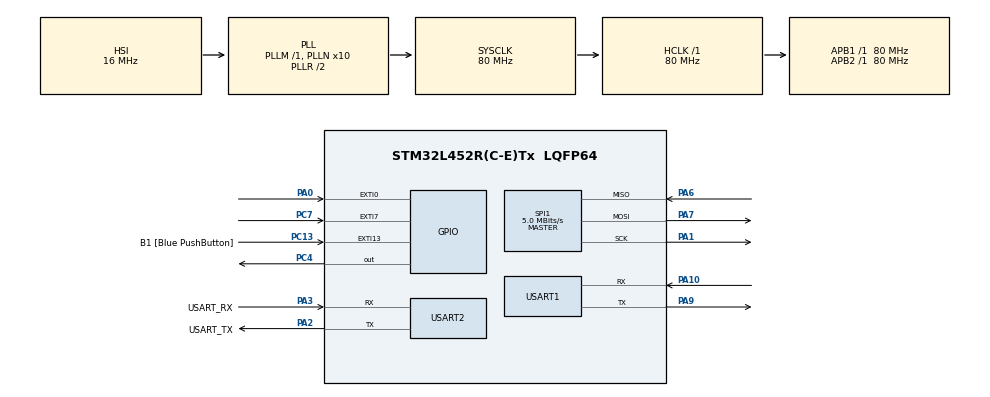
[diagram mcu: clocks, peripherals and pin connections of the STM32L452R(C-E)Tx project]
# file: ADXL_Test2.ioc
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Mcu.Family=STM32L4
Mcu.Name=STM32L452R(C-E)Tx
Mcu.Package=LQFP64
NVIC.EXTI0_IRQn=true\:0\:0\:false\:false\:true\:true\:true
NVIC.EXTI9_5_IRQn=true\:0\:0\:false\:false\:true\:true\:true
NVIC.PriorityGroup=NVIC_PRIORITYGROUP_4
NVIC.SPI1_IRQn=true\:0\:0\:false\:false\:true\:true\:true
PA0.Signal=GPXTI0
PA1.Mode=Full_Duplex_Master
PA1.Signal=SPI1_SCK
PA10.Mode=Asynchronous
PA10.Signal=USART1_RX
PA13\ (JTMS/SWDIO).GPIO_Label=TMS
PA13\ (JTMS/SWDIO).Mode=Serial_Wire
PA13\ (JTMS/SWDIO).Signal=SYS_JTMS-SWDIO
PA14\ (JTCK/SWCLK).GPIO_Label=TCK
PA14\ (JTCK/SWCLK).Mode=Serial_Wire
PA14\ (JTCK/SWCLK).Signal=SYS_JTCK-SWCLK
PA2.GPIO_Label=USART_TX
PA2.GPIO_Mode=GPIO_MODE_AF_PP
PA2.GPIO_PuPd=GPIO_NOPULL
PA2.GPIO_Speed=GPIO_SPEED_FREQ_VERY_HIGH
PA2.Mode=Asynchronous
PA2.Signal=USART2_TX
PA3.GPIO_Label=USART_RX
PA3.GPIO_Mode=GPIO_MODE_AF_PP
PA3.GPIO_PuPd=GPIO_NOPULL
PA3.GPIO_Speed=GPIO_SPEED_FREQ_VERY_HIGH
PA3.Mode=Asynchronous
PA3.Signal=USART2_RX
PA6.Mode=Full_Duplex_Master
PA6.Signal=SPI1_MISO
PA7.Mode=Full_Duplex_Master
PA7.Signal=SPI1_MOSI
PA9.Mode=Asynchronous
PA9.Signal=USART1_TX
PB3\ (JTDO/TRACESWO).GPIO_Label=SWO
PB3\ (JTDO/TRACESWO).Signal=SYS_JTDO-SWO
PC13.GPIO_Label=B1 [Blue PushButton]
PC13.GPIO_ModeDefaultEXTI=GPIO_MODE_IT_FALLING
PC13.GPIO_PuPd=GPIO_NOPULL
PC13.Signal=GPXTI13
PC14-OSC32_IN\ (PC14).Mode=LSE-External-Oscillator
PC14-OSC32_IN\ (PC14).Signal=RCC_OSC32_IN
PC15-OSC32_OUT\ (PC15).Mode=LSE-External-Oscillator
PC15-OSC32_OUT\ (PC15).Signal=RCC_OSC32_OUT
PC4.PinState=GPIO_PIN_SET
PC4.Signal=GPIO_Output
PC7.GPIO_ModeDefaultEXTI=GPIO_MODE_IT_RISING
PC7.Signal=GPXTI7
PH0-OSC_IN\ (PH0).Signal=RCC_OSC_IN
PH1-OSC_OUT\ (PH1).Signal=RCC_OSC_OUT
ProjectManager.HeapSize=0x200
ProjectManager.StackSize=0x400
ProjectManager.TargetToolchain=STM32CubeIDE
RCC.ADCFreq_Value=64000000
RCC.AHBFreq_Value=80000000
RCC.APB1Freq_Value=80000000
RCC.APB1TimFreq_Value=80000000
RCC.APB2Freq_Value=80000000
RCC.APB2TimFreq_Value=80000000
RCC.CortexFreq_Value=80000000
RCC.HCLKFreq_Value=80000000
RCC.HSE_VALUE=8000000
RCC.HSI48_VALUE=48000000
RCC.HSI_VALUE=16000000
RCC.MSI_VALUE=4000000
RCC.PLLN=10
RCC.PLLSourceVirtual=RCC_PLLSOURCE_HSI
RCC.PREFETCH_ENABLE=1
RCC.SYSCLKFreq_VALUE=80000000
RCC.SYSCLKSource=RCC_SYSCLKSOURCE_PLLCLK
RCC.USBFreq_Value=64000000
RCC.VCOOutputFreq_Value=160000000
SPI1.BaudRatePrescaler=SPI_BAUDRATEPRESCALER_16
SPI1.CalculateBaudRate=5.0 MBits/s
SPI1.DataSize=SPI_DATASIZE_8BIT
SPI1.Direction=SPI_DIRECTION_2LINES
SPI1.Mode=SPI_MODE_MASTER
SPI1.VirtualType=VM_MASTER
USART1.VirtualMode-Asynchronous=VM_ASYNC
USART2.VirtualMode-Asynchronous=VM_ASYNC
board=NUCLEO-L452RE

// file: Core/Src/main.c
/* USER CODE BEGIN Header */
/**
  ******************************************************************************
  * @file           : main.c
  * @brief          : Main program body
  ******************************************************************************
  * @attention
  *
  * <h2><center>&copy; Copyright (c) 2021 STMicroelectronics.
  * All rights reserved.</center></h2>
  *
  * This software component is licensed by ST under BSD 3-Clause license,
  * the "License"; You may not use this file except in compliance with the
  * License. You may obtain a copy of the License at:
  *                        opensource.org/licenses/BSD-3-Clause
  *
  ******************************************************************************
  */
/* USER CODE END Header */
#include "main.h"

/* USER CODE BEGIN Includes */
#include "accel.h"

// for debugging
#include <stdio.h>
#include <string.h>
/* USER CODE END Includes */

SPI_HandleTypeDef hspi1;

UART_HandleTypeDef huart1;
UART_HandleTypeDef huart2;

void SystemClock_Config(void);
static void MX_GPIO_Init(void);
static void MX_USART2_UART_Init(void);
static void MX_SPI1_Init(void);
static void MX_USART1_UART_Init(void);

/* USER CODE BEGIN 0 */
volatile uint8_t spi_xmit_flag = 0;
volatile uint8_t spi_recv_flag = 0;
volatile uint8_t fifo_read_flag = 0;

GPIO_Pin chip_select;
SPI_Comm accel_spi;
uint8_t fifo_buffer[FIFO_BYTES];
size_t fifo_buffer_size;

/* USER CODE END 0 */

int main(void)
{

  /* MCU Configuration--------------------------------------------------------*/

  /* Reset of all peripherals, Initializes the Flash interface and the Systick. */
  HAL_Init();

  /* Configure the system clock */
  SystemClock_Config();

  /* Initialize all configured peripherals */
  MX_GPIO_Init();
  MX_USART2_UART_Init();
  MX_SPI1_Init();
  MX_USART1_UART_Init();
  /* USER CODE BEGIN 2 */

  // initialize SPI
  chip_select.port = GPIOC;
  chip_select.pin = GPIO_PIN_4;
  accel_spi.handle = &hspi1;
  accel_spi.cs = &chip_select;

  fifo_buffer_size = sizeof(fifo_buffer);

  stream_start(accel_spi, FIFO_SAMPLES);
  fifo_data(accel_spi, fifo_buffer, fifo_buffer_size);

  /* USER CODE END 2 */

  /* Infinite loop */
  while (1)
  {

    /* USER CODE BEGIN 3 */

	  if (fifo_read_flag) {
		  fifo_read_flag = 0;
	  	  fifo_data(accel_spi, fifo_buffer, fifo_buffer_size);
	  	  HAL_UART_Transmit(&huart1, fifo_buffer, fifo_buffer_size, HAL_MAX_DELAY);
		  // buffer ready to transmit
	  }

	  //reg_read(accel_spi, (uint8_t) ADXL372_FIFO_DATA, (uint8_t*) &fifo_buffer);
  }
  /* USER CODE END 3 */
}

void SystemClock_Config(void)
{
  RCC_OscInitTypeDef RCC_OscInitStruct = {0};
  RCC_ClkInitTypeDef RCC_ClkInitStruct = {0};
  RCC_PeriphCLKInitTypeDef PeriphClkInit = {0};

  /** Initializes the RCC Oscillators according to the specified parameters
  * in the RCC_OscInitTypeDef structure.
  */
  RCC_OscInitStruct.OscillatorType = RCC_OSCILLATORTYPE_HSI;
  RCC_OscInitStruct.HSIState = RCC_HSI_ON;
  RCC_OscInitStruct.HSICalibrationValue = RCC_HSICALIBRATION_DEFAULT;
  RCC_OscInitStruct.PLL.PLLState = RCC_PLL_ON;
  RCC_OscInitStruct.PLL.PLLSource = RCC_PLLSOURCE_HSI;
  RCC_OscInitStruct.PLL.PLLM = 1;
  RCC_OscInitStruct.PLL.PLLN = 10;
  RCC_OscInitStruct.PLL.PLLP = RCC_PLLP_DIV7;
  RCC_OscInitStruct.PLL.PLLQ = RCC_PLLQ_DIV2;
  RCC_OscInitStruct.PLL.PLLR = RCC_PLLR_DIV2;
  if (HAL_RCC_OscConfig(&RCC_OscInitStruct) != HAL_OK)
  {
    Error_Handler();
  }
  /** Initializes the CPU, AHB and APB buses clocks
  */
  RCC_ClkInitStruct.ClockType = RCC_CLOCKTYPE_HCLK|RCC_CLOCKTYPE_SYSCLK
                              |RCC_CLOCKTYPE_PCLK1|RCC_CLOCKTYPE_PCLK2;
  RCC_ClkInitStruct.SYSCLKSource = RCC_SYSCLKSOURCE_PLLCLK;
  RCC_ClkInitStruct.AHBCLKDivider = RCC_SYSCLK_DIV1;
  RCC_ClkInitStruct.APB1CLKDivider = RCC_HCLK_DIV1;
  RCC_ClkInitStruct.APB2CLKDivider = RCC_HCLK_DIV1;

  if (HAL_RCC_ClockConfig(&RCC_ClkInitStruct, FLASH_LATENCY_4) != HAL_OK)
  {
    Error_Handler();
  }
  PeriphClkInit.PeriphClockSelection = RCC_PERIPHCLK_USART1|RCC_PERIPHCLK_USART2;
  PeriphClkInit.Usart1ClockSelection = RCC_USART1CLKSOURCE_PCLK2;
  PeriphClkInit.Usart2ClockSelection = RCC_USART2CLKSOURCE_PCLK1;
  if (HAL_RCCEx_PeriphCLKConfig(&PeriphClkInit) != HAL_OK)
  {
    Error_Handler();
  }
  /** Configure the main internal regulator output voltage
  */
  if (HAL_PWREx_ControlVoltageScaling(PWR_REGULATOR_VOLTAGE_SCALE1) != HAL_OK)
  {
    Error_Handler();
  }
}

static void MX_SPI1_Init(void)
{

  /* SPI1 parameter configuration*/
  hspi1.Instance = SPI1;
  hspi1.Init.Mode = SPI_MODE_MASTER;
  hspi1.Init.Direction = SPI_DIRECTION_2LINES;
  hspi1.Init.DataSize = SPI_DATASIZE_8BIT;
  hspi1.Init.CLKPolarity = SPI_POLARITY_LOW;
  hspi1.Init.CLKPhase = SPI_PHASE_1EDGE;
  hspi1.Init.NSS = SPI_NSS_SOFT;
  hspi1.Init.BaudRatePrescaler = SPI_BAUDRATEPRESCALER_16;
  hspi1.Init.FirstBit = SPI_FIRSTBIT_MSB;
  hspi1.Init.TIMode = SPI_TIMODE_DISABLE;
  hspi1.Init.CRCCalculation = SPI_CRCCALCULATION_DISABLE;
  hspi1.Init.CRCPolynomial = 7;
  hspi1.Init.CRCLength = SPI_CRC_LENGTH_DATASIZE;
  hspi1.Init.NSSPMode = SPI_NSS_PULSE_ENABLE;
  if (HAL_SPI_Init(&hspi1) != HAL_OK)
  {
    Error_Handler();
  }

}

static void MX_USART1_UART_Init(void)
{

  huart1.Instance = USART1;
  huart1.Init.BaudRate = 115200;
  huart1.Init.WordLength = UART_WORDLENGTH_8B;
  huart1.Init.StopBits = UART_STOPBITS_1;
  huart1.Init.Parity = UART_PARITY_NONE;
  huart1.Init.Mode = UART_MODE_TX_RX;
  huart1.Init.HwFlowCtl = UART_HWCONTROL_NONE;
  huart1.Init.OverSampling = UART_OVERSAMPLING_16;
  huart1.Init.OneBitSampling = UART_ONE_BIT_SAMPLE_DISABLE;
  huart1.AdvancedInit.AdvFeatureInit = UART_ADVFEATURE_NO_INIT;
  if (HAL_UART_Init(&huart1) != HAL_OK)
  {
    Error_Handler();
  }

}

static void MX_USART2_UART_Init(void)
{

  huart2.Instance = USART2;
  huart2.Init.BaudRate = 115200;
  huart2.Init.WordLength = UART_WORDLENGTH_8B;
  huart2.Init.StopBits = UART_STOPBITS_1;
  huart2.Init.Parity = UART_PARITY_NONE;
  huart2.Init.Mode = UART_MODE_TX_RX;
  huart2.Init.HwFlowCtl = UART_HWCONTROL_NONE;
  huart2.Init.OverSampling = UART_OVERSAMPLING_16;
  huart2.Init.OneBitSampling = UART_ONE_BIT_SAMPLE_DISABLE;
  huart2.AdvancedInit.AdvFeatureInit = UART_ADVFEATURE_NO_INIT;
  if (HAL_UART_Init(&huart2) != HAL_OK)
  {
    Error_Handler();
  }

}

static void MX_GPIO_Init(void)
{
  GPIO_InitTypeDef GPIO_InitStruct = {0};

  /* GPIO Ports Clock Enable */
  __HAL_RCC_GPIOC_CLK_ENABLE();
  __HAL_RCC_GPIOH_CLK_ENABLE();
  __HAL_RCC_GPIOA_CLK_ENABLE();
  __HAL_RCC_GPIOB_CLK_ENABLE();

  /*Configure GPIO pin Output Level */
  HAL_GPIO_WritePin(GPIOC, GPIO_PIN_4, GPIO_PIN_SET);

  /*Configure GPIO pin : B1_Pin */
  GPIO_InitStruct.Pin = B1_Pin;
  GPIO_InitStruct.Mode = GPIO_MODE_IT_FALLING;
  GPIO_InitStruct.Pull = GPIO_NOPULL;
  HAL_GPIO_Init(B1_GPIO_Port, &GPIO_InitStruct);

  /*Configure GPIO pin : PA0 */
  GPIO_InitStruct.Pin = GPIO_PIN_0;
  GPIO_InitStruct.Mode = GPIO_MODE_IT_RISING;
  GPIO_InitStruct.Pull = GPIO_NOPULL;
  HAL_GPIO_Init(GPIOA, &GPIO_InitStruct);

  /*Configure GPIO pin : PC4 */
  GPIO_InitStruct.Pin = GPIO_PIN_4;
  GPIO_InitStruct.Mode = GPIO_MODE_OUTPUT_PP;
  GPIO_InitStruct.Pull = GPIO_NOPULL;
  GPIO_InitStruct.Speed = GPIO_SPEED_FREQ_LOW;
  HAL_GPIO_Init(GPIOC, &GPIO_InitStruct);

  /*Configure GPIO pin : PC7 */
  GPIO_InitStruct.Pin = GPIO_PIN_7;
  GPIO_InitStruct.Mode = GPIO_MODE_IT_RISING;
  GPIO_InitStruct.Pull = GPIO_NOPULL;
  HAL_GPIO_Init(GPIOC, &GPIO_InitStruct);

  /* EXTI interrupt init*/
  HAL_NVIC_SetPriority(EXTI0_IRQn, 0, 0);
  HAL_NVIC_EnableIRQ(EXTI0_IRQn);

  HAL_NVIC_SetPriority(EXTI9_5_IRQn, 0, 0);
  HAL_NVIC_EnableIRQ(EXTI9_5_IRQn);

}

/* USER CODE BEGIN 4 */
void HAL_SPI_TxCpltCallback(SPI_HandleTypeDef * hspi)
{
  // Set CS pin to high and raise flag
  HAL_GPIO_WritePin(GPIOC, GPIO_PIN_4, GPIO_PIN_SET);
  spi_xmit_flag = 1;
}

void printBinary(uint16_t num)
{
	char printstr[1];
	int a;
	uint16_t bit;
	for (int i = 1 << 15; i > 0; i = i/2) {
		bit = (uint16_t)i;
		a = (bit & num) ? 1 : 0;
		sprintf(printstr, "%d", a);
		HAL_UART_Transmit(&huart2, printstr, sizeof(printstr), HAL_MAX_DELAY);
	}
	printstr[0] = ' ';
	HAL_UART_Transmit(&huart2, printstr, sizeof(printstr), HAL_MAX_DELAY);
	return;
}

// This is called when SPI receive is done
void HAL_SPI_RxCpltCallback(SPI_HandleTypeDef * hspi)
{
	if (fifo_read_flag == 0) {
		fifo_read_flag = 1;
		uint8_t dummy = 0;
		HAL_UART_Transmit(&huart1, fifo_buffer, fifo_buffer_size, HAL_MAX_DELAY);
		reg_read_CS(accel_spi, ADXL372_STATUS_1, &dummy, sizeof(dummy));
	}
	// Set CS pin to high and raise flag
	HAL_GPIO_WritePin(GPIOC, GPIO_PIN_4, GPIO_PIN_SET);
	spi_recv_flag = 1;
}

// ISR for FIFO Full
void HAL_GPIO_EXTI_Callback(uint16_t GPIO_Pin)
{
	/*
	uint8_t dummy = 0;
	reg_read(accel_spi, ADXL372_FIFO_ENTRIES_2, &dummy, sizeof(dummy));
	reg_read(accel_spi, ADXL372_FIFO_ENTRIES_1, &dummy, sizeof(dummy));
	*/
	if(GPIO_Pin == GPIO_PIN_0) {
		fifo_read_flag = 1;
		//fifo_data(accel_spi, fifo_buffer, fifo_buffer_size);
	}

}
/* USER CODE END 4 */

void Error_Handler(void)
{
  __disable_irq();
  while (1)
  {
  }
}

/************************ (C) COPYRIGHT STMicroelectronics *****END OF FILE****/
